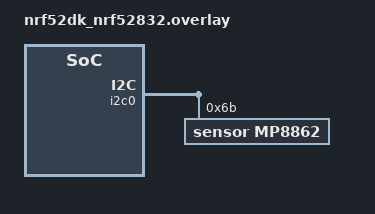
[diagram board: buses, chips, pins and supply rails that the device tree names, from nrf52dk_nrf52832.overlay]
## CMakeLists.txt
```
# SPDX-License-Identifier: Apache-2.0

cmake_minimum_required(VERSION 3.20.0)
find_package(Zephyr REQUIRED HINTS $ENV{ZEPHYR_BASE})
project(i2c_demo)

list(APPEND ZEPHYR_EXTRA_MODULES ${CMAKE_CURRENT_SOURCE_DIR}/drivers/shtc3)
target_sources(app PRIVATE src/main.c)
# zephyr_include_directories(include)
add_subdirectory(drivers)
include_directories(../zephyr/include)
zephyr_include_directories($ENV{ZEPHYR_BASE}/drivers/sensor/shtcx)
```

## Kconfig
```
mainmenu "I2C demo"

source "Kconfig.zephyr"
```

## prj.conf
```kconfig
CONFIG_GPIO=y
CONFIG_I2C=y
# CONFIG_I2C_NRFX=y
# CONFIG_NRFX_TWI1=y
# CONFIG_NRFX_TWIM=y
CONFIG_SENSOR=y
# CONFIG_SHTCX=y

# Logging
CONFIG_LOG=y
CONFIG_I2C_LOG_LEVEL_DBG=y
# CONFIG_LOG_MODE_IMMEDIATE=y
# CONFIG_SERIAL=y
# CONFIG_CONSOLE=y
# CONFIG_UART_CONSOLE=y
# CONFIG_LOG_BACKEND_UART=y
```

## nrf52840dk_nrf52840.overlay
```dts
&i2c1{
	compatible="nordic,nrf-twim";
	#address-cells = <1>;
	#size-cells = <0>;
	reg = <0x40004000 0x1000>;
	clock-frequency = <I2C_BITRATE_STANDARD>;
	interrupts = <4 1>;
	status = "okay";
	label = "I2C_1";
	sda-pin = < 30 >;
	scl-pin = < 31 >;
};
```

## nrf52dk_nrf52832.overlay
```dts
&i2c0{
	// compatible="nordic,nrf-twim";
	// status = "okay";
	// // sda-pin = <30>;
	// // scl-pin = <31>;
	// clock-frequency = <I2C_BITRATE_STANDARD>;
	// twis_device1:MS5367@ec {
	// 	// compatible = "nordic,sensor";
	// 	label = "MS5367";
	// 	reg = <0xEC>;
	// };
	// shtc3_0:SHTC3@70{
	// 	compatible = "sensirion,shtcx";
	// 	chip = "shtc3";
	// 	measure-mode = "normal";
	// 	label = "SHTC3";
	// 	reg = <0x70>;
	// };
	MP8862@6b {
		compatible = "sensor,mp8862";
		status = "okay";
		label = "MP8862";
		reg = <0x6b>;
	};
};
```

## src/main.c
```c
#include <device.h>
#include <devicetree.h>
#include <drivers/gpio.h>
#include <drivers/i2c.h>
#include <drivers/sensor.h>
#include <sys/printk.h>
#include <zephyr.h>


#include <shtcx.h>

#include <logging/log.h>
LOG_MODULE_REGISTER(demo);

#define LED0_NODE DT_ALIAS(led0)
const struct device *led_dev;
#if DT_NODE_HAS_STATUS(LED0_NODE,okay)
    #define LED0    DT_GPIO_LABEL(LED0_NODE, gpios)
    #define PIN     DT_GPIO_PIN(LED0_NODE, gpios)
    #define FLAGS   DT_GPIO_FLAGS(LED0_NODE, gpios)
#else
    //Can't blink
    #error "Unsupported board: led0 devicetree alias is not defined"
    #define LED0 ""
    #define PIN 0
    #define FLAGS 0
#endif

// #define SHTC3 DT_INST(0, sensirion_shtc3)
// #define CONFIG_SHTC3_DEV_NAME DT_LABEL(SHTC3)


// #define SHTC3 DT_NODELABEL(shtc3_0)
// const struct device *shtc3;

// void shtc3_init(void){
//     int config_result = false;
//     shtc3 = device_get_binding(DT_LABEL(SHTC3));
//     if (shtc3 == NULL) {
//         printk("\n\nI2C slave: Device driver not found.\n");
//     } else {
//         printk("\nI2C device 1: %s\n", DT_PROP(SHTC3, label));

//         // config_result = i2c_configure(shtc3, I2C_SPEED_SET(I2C_SPEED_STANDARD) | I2C_MODE_MASTER);

//     if (!config_result) {
//       printk("I2C Master: Slave ADDR: 0x%x SCL: %d, SDA: %d, CLK(Hz): %u\n\n",
//           DT_REG_ADDR(SHTC3), 
//           DT_PROP(SHTC3, scl_pin),
//           DT_PROP(SHTC3, sda_pin),
//           DT_PROP(SHTC3, clock_frequency));
//     } else
//       printk("\n\nI2C: Configuration error code: %d\n", config_result);
//   }
// }

#define MP_TWIM DT_NODELABEL(i2c0)
// #define MP_TWIM DT_NODELABEL(twis_device2)
// #define MP_TWIM DT_INST(1,nordic,nrf-twim)
const struct device *nrfx_twis_dev2;

static void twim_init(void) {
  int config_result = false;

  nrfx_twis_dev2 = device_get_binding(DT_LABEL(MP_TWIM));

  if (nrfx_twis_dev2 == NULL) {
    printk("\n\nI2C Slave: Device driver not found.\n");
  } else {
    printk("\nI2C device 2: %s\n", DT_PROP(MP_TWIM, label));

    config_result = i2c_configure(nrfx_twis_dev2, I2C_SPEED_SET(I2C_SPEED_FAST) | I2C_MODE_MASTER);

    if (!config_result) {
      printk("I2C Master: Slave ADDR: 0x%x SCL: %d, SDA: %d, CLK(Hz): %u\n\n",
          DT_REG_ADDR(MP_TWIM), 
          DT_PROP(MP_TWIM, scl_pin),
          DT_PROP(MP_TWIM, sda_pin),
          DT_PROP(MP_TWIM, clock_frequency));
    } else
      printk("\n\nI2C: Configuration error code: %d\n", config_result);
  }
}

// struct shtc3_data {
// 	uint16_t temp;
// 	uint16_t humidity;
// } __packed __aligned(2);

// void shtc3_fetch(void)
// {
// 	sensor_sample_fetch(shtc3);
// 	return;
// }

// int32_t shtc3_get_temp(void){
// 	struct shtc3_data *data = shtc3->data;
// 	return data->temp;
// }


// uint32_t shtc3_get_humidity(void){
// 	struct shtc3_data *data = shtc3->data;
// 	return data->humidity;
// }

// static sensor_data_t sensor_data = {0};

// static void update_shtc3(void){
// 	shtc3_fetch();
// 	sensor_data.temperature = shtc3_get_temp();
// 	sensor_data.humidity    = shtc3_get_humidity();
// 	LOG_DBG("Temperature: %d, Humidity: %d",sensor_data.temperature, sensor_data.humidity);
// }

#define TWI_BUFFER_SIZE 14
static unsigned char i2c_tx_buffer[TWI_BUFFER_SIZE] = {'M', 'S','G',' ','F', 'R', 'O', 'M', ' ', 'T', 'W', 'I', 'M', '\0'};

////////////////////////////////////////////////////////////

#define ECHO_WRITES false
#define MSG_EXCHANGE_CNT 5
#define INFINITE_MSG_EXCHANGE false
#define TWI_LOOPBACK false

void main(void){
    printk("Startup\n");
    // shtc3_init();
    twim_init();
    // uint8_t bufferi2c[TWI_BUFFER_SIZE] = {0xA};
	// // bufferi2c = {0xA};
	// uint8_t bufferi2crx[TWI_BUFFER_SIZE];
	// bufferi2crx = {0x00,0x00};
	

    while(1){
        k_msleep(1000);
        if(!i2c_write(nrfx_twis_dev2,i2c_tx_buffer,sizeof(i2c_tx_buffer), DT_REG_ADDR(MP_TWIM)))
            printk("ERROR: Not writing!\n");
        // shtc3_fetch();
        // printk("%x",shtc3_get_humidity());

    }
}
```

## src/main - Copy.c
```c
#include <zephyr.h>
#include <device.h>
#include <devicetree.h>
#include <drivers/i2c.h>
#include <irq.h>
#include <nrfx_twim.h>
#include "bno/bno055.h"
#include <stdio.h>
#include <time.h>

#define PIN_SCL DT_PROP(DT_NODELABEL(i2c1), scl_pin)
#define PIN_SDA DT_PROP(DT_NODELABEL(i2c1), sda_pin)
#define I2C_BUFFER_LEN 8
#define BNO055_I2C_BUS_WRITE_ARRAY_INDEX ((u8)1)


// //BNO055 Power og Operation Mode Registers
// uint8_t power_mode_normal = BNO055_POWER_MODE_NORMAL;
// uint8_t pow_mode_reg = BNO055_POWER_MODE_REG;

// //BNO055 OPERATION_MODE registers
// uint8_t operation_mode_reg = BNO055_OPERATION_MODE_REG;
// uint8_t operation_mode_config = BNO055_OPERATION_MODE_CONFIG;
// uint8_t operation_mode_acc_only = BNO055_OPERATION_MODE_ACCONLY;

// //BNO055 ACC RAW DATA registers
// uint8_t accel_datax_lsb_reg_addr = BNO055_ACCEL_DATA_X_LSB_ADDR;
// uint8_t accel_datax_msb_reg_addr = BNO055_ACCEL_DATA_X_MSB_ADDR;
// uint8_t accel_datax_lsb_reg_addr = BNO055_ACCEL_DATA_X_LSB_ADDR;
// uint8_t accel_datax_lsb_reg_addr = BNO055_ACCEL_DATA_X_LSB_ADDR;

static const nrfx_twim_t m_twim = NRFX_TWIM_INSTANCE(1);
static nrfx_twim_config_t m_twim_config;
struct bno055_t sensor;

s8 bno055_write(u8 dev_addr, u8 reg_addr, u8 *reg_data, u8 cnt);
s8 bno055_read(u8 dev_addr, u8 reg_addr, u8 *reg_data, u8 cnt);
void delay_ms(u32 milis);

s8 I2C_routine(void)
{
    sensor.bus_write = bno055_write;
    sensor.bus_read = bno055_read;
    sensor.dev_addr = BNO055_I2C_ADDR1;
    sensor.delay_msec = delay_ms;
    return BNO055_INIT_VALUE;
}

s8 bno055_write(u8 dev_addr, u8 reg_addr, u8 *reg_data, u8 cnt)
{   
    
    s32 BNO055_iERROR = BNO055_INIT_VALUE;
    u8 array[I2C_BUFFER_LEN];
    u8 stringpos = BNO055_INIT_VALUE;

    array[BNO055_INIT_VALUE] = reg_addr;
    for (stringpos = BNO055_INIT_VALUE; stringpos < cnt; stringpos++)
    {
        array[stringpos + BNO055_I2C_BUS_WRITE_ARRAY_INDEX] = *(reg_data + stringpos);
    }

    nrfx_twim_xfer_desc_t descr = NRFX_TWIM_XFER_DESC_TXTX(dev_addr, &reg_addr, 1, reg_data, cnt);
    int twim_xfer_ret = nrfx_twim_xfer(&m_twim, &descr, 0);
    printk("XFER WRITE return: %02X \n", twim_xfer_ret);
    return (s8)BNO055_iERROR;
}

void delay_ms(u32 msek){
    k_msleep(msek);

}

s8 bno055_read(u8 dev_addr, u8 reg_addr, u8 *reg_data, u8 cnt)
{   
    nrfx_twim_xfer_desc_t descr = NRFX_TWIM_XFER_DESC_TXRX(dev_addr, &reg_addr, 1, reg_data, cnt);
    s32 BNO055_iERROR = BNO055_INIT_VALUE;
    u8 stringpos = BNO055_INIT_VALUE;
    int twim_xfer_ret = nrfx_twim_xfer(&m_twim, &descr, 0);
    printk("XFER READ return: %02X \n", twim_xfer_ret);
    return (s8)BNO055_iERROR;
}



static void twim_event_handler(nrfx_twim_evt_t const *const p_event)
{
    switch (p_event->type)
    {
    case NRFX_TWIM_EVT_DONE:
        // printk("NRFX_TWIM_EVT_DONE \n");
        break;
    case NRFX_TWIM_EVT_ADDRESS_NACK:
        printk("NRFX_TWIM_EVT_ADDRESS_NACK \n");
        break;
    case NRFX_TWIM_EVT_OVERRUN:
        printk("NRFX_TWIM_EVT_OVERRUN \n");
        break;
    case NRFX_TWIM_EVT_DATA_NACK:
        printk("NRFX_TWIM_EVT_DATA_NACK \n");
        break;
    case NRFX_TWIM_EVT_BUS_ERROR:
        printk("NRFX_TWIM_EVT_BUS_ERROR \n");
    default:
        break;
    }
}

/* Application main Thread */
int main(void)
{   
    //Equal to NRFX_TWIM_DEFAULT_CONFIG with exception of SDA and SCL pins
    m_twim_config.scl = PIN_SCL;
    m_twim_config.sda = PIN_SDA;
    m_twim_config.frequency = NRF_TWIM_FREQ_400K;
    m_twim_config.interrupt_priority = NRFX_TWIM_DEFAULT_CONFIG_IRQ_PRIORITY;
    m_twim_config.hold_bus_uninit = false;

    //Initialization of the TWIM MASTER
    int ret = nrfx_twim_init(&m_twim, &m_twim_config, twim_event_handler, NULL);
    // printk("Return from nrfx_twim_init(): %02X \n", ret);

    //JEG IKKE VITE HVA SKJER HER
    IRQ_CONNECT(DT_IRQN(DT_NODELABEL(i2c1)),
                DT_IRQ(DT_NODELABEL(i2c1), priority),
                nrfx_isr, nrfx_twim_1_irq_handler, 0);

    //Enables TWIM_MASTER after initial configuration
    nrfx_twim_enable(&m_twim);

    
    //Initialize the bno055 struct
    int bno055_ret =I2C_routine();
    // printk("Return value from I2C_routine(): %02X \n",bno055_ret);

    //Initialize the BNO055 sensor using bno055_init();
    int bno055_init_ret = bno055_init(&sensor);
    printk("Sensor Init values \n");
    printk("%02X \n",sensor.chip_id);
    printk("%02X \n",sensor.accel_rev_id);
    printk("%02X \n",sensor.mag_rev_id);
    printk("%02X \n",sensor.gyro_rev_id);
    printk("%02X \n",sensor.sw_rev_id);
    printk("%02X \n",sensor.page_id);
    // printk("Return value from bno055_init(): %02X \n", bno055_init_ret);


    //Set up NORMAL power mode for the sensor
    u8 power_mode = BNO055_POWER_MODE_NORMAL;
    s8 power_mode_setup_ret = bno055_set_power_mode(power_mode);
    printk("POW MODE RET %02X \n", power_mode_setup_ret);

    //Set up OPERATION MODE to ACCONLY
    u8 operation_mode = BNO055_OPERATION_MODE_AMG;
    s8 operation_mode_ret = bno055_set_operation_mode(operation_mode);
    printk("OP MODE RET %02X \n", operation_mode_ret);

    s16 accelx_data;
    s16 accely_data;
    s16 accelz_data;

    s16 gyrox_data;
    s16 gyroy_data;
    s16 gyroz_data;

    u8 op_mode;
    for(int i =0; i < 3; i++) {
        s8 operation_mode_ret = bno055_set_operation_mode(operation_mode);
    }
    
    s8 get_op_mode_ret = bno055_get_operation_mode(&op_mode);
    printk("Current Operation Mode %02X \n" , op_mode);
    while (1)
    {
        // printk("Writing 0x60, 0x70, 0x80, 0x90 to slave at address 0x20 \n");
        int accelx_read_ret = bno055_read_accel_x(&accelx_data);
        int accely_read_ret = bno055_read_accel_y(&accely_data);
        int accelz_read_ret = bno055_read_accel_z(&accelz_data);
        // printk("Return from communication with accelerometer x-axis: %02X \n", accel_read_ret);
        printk("The acceleration x data is: %02X \n", accelx_data);
        printk("The acceleration y data is: %02X \n", accely_data);
        printk("The acceleration z data is: %02X \n", accelz_data);
        k_msleep(500);
    }
    return 0;
}
```
